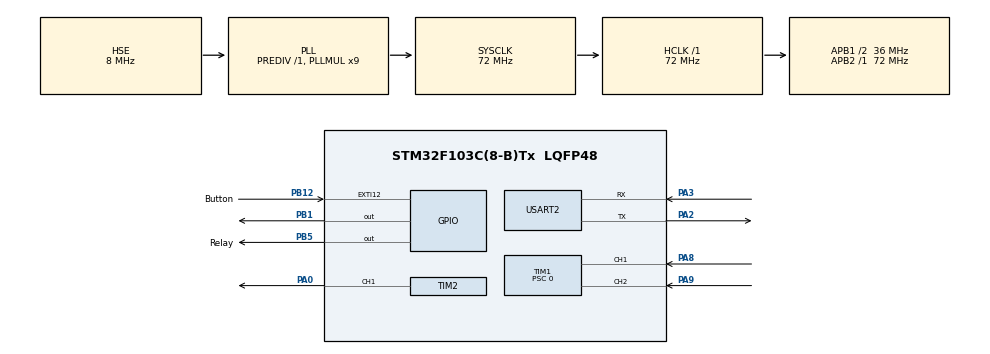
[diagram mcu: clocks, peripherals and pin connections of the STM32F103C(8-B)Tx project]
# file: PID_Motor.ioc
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Dma.Request0=USART2_TX
Dma.USART2_TX.0.Direction=DMA_MEMORY_TO_PERIPH
Dma.USART2_TX.0.Instance=DMA1_Channel7
Dma.USART2_TX.0.MemDataAlignment=DMA_MDATAALIGN_BYTE
Dma.USART2_TX.0.MemInc=DMA_MINC_ENABLE
Dma.USART2_TX.0.Mode=DMA_NORMAL
Dma.USART2_TX.0.PeriphDataAlignment=DMA_PDATAALIGN_BYTE
Dma.USART2_TX.0.PeriphInc=DMA_PINC_DISABLE
Dma.USART2_TX.0.Priority=DMA_PRIORITY_LOW
Mcu.Family=STM32F1
Mcu.Name=STM32F103C(8-B)Tx
Mcu.Package=LQFP48
NVIC.DMA1_Channel7_IRQn=true\:0\:0\:false\:false\:true\:false\:true\:true
NVIC.EXTI15_10_IRQn=true\:1\:0\:true\:false\:true\:true\:true\:true
NVIC.PriorityGroup=NVIC_PRIORITYGROUP_4
NVIC.TIM3_IRQn=true\:0\:0\:false\:false\:true\:true\:true\:true
NVIC.USART2_IRQn=true\:0\:0\:false\:false\:true\:false\:true\:true
PA0-WKUP.Signal=S_TIM2_CH1_ETR
PA13.Mode=Serial_Wire
PA13.Signal=SYS_JTMS-SWDIO
PA14.Mode=Serial_Wire
PA14.Signal=SYS_JTCK-SWCLK
PA2.Mode=Asynchronous
PA2.Signal=USART2_TX
PA3.Mode=Asynchronous
PA3.Signal=USART2_RX
PA8.Signal=S_TIM1_CH1
PA9.Signal=S_TIM1_CH2
PB1.Signal=GPIO_Output
PB12.GPIO_Label=Button
PB12.GPIO_ModeDefaultEXTI=GPIO_MODE_IT_FALLING
PB12.Signal=GPXTI12
PB5.GPIO_Label=Relay
PB5.Signal=GPIO_Output
PD0-OSC_IN.Mode=HSE-External-Oscillator
PD0-OSC_IN.Signal=RCC_OSC_IN
PD1-OSC_OUT.Mode=HSE-External-Oscillator
PD1-OSC_OUT.Signal=RCC_OSC_OUT
ProjectManager.HeapSize=0x200
ProjectManager.StackSize=0x400
ProjectManager.TargetToolchain=CMake
RCC.AHBFreq_Value=72000000
RCC.APB1CLKDivider=RCC_HCLK_DIV2
RCC.APB1Freq_Value=36000000
RCC.APB1TimFreq_Value=72000000
RCC.APB2Freq_Value=72000000
RCC.APB2TimFreq_Value=72000000
RCC.HCLKFreq_Value=72000000
RCC.PLLMUL=RCC_PLL_MUL9
RCC.PLLSourceVirtual=RCC_PLLSOURCE_HSE
RCC.SYSCLKFreq_VALUE=72000000
RCC.SYSCLKSource=RCC_SYSCLKSOURCE_PLLCLK
RCC.USBFreq_Value=72000000
SH.S_TIM1_CH1.0=TIM1_CH1,Encoder_Interface
SH.S_TIM1_CH2.0=TIM1_CH2,Encoder_Interface
SH.S_TIM2_CH1_ETR.0=TIM2_CH1,PWM Generation1 CH1
TIM1.IC1Filter=10
TIM1.IC1Polarity=TIM_ICPOLARITY_FALLING
TIM1.IC2Filter=10
TIM1.IC2Polarity=TIM_ICPOLARITY_FALLING
TIM1.Prescaler=0
TIM2.Channel-PWM\ Generation1\ CH1=TIM_CHANNEL_1
TIM2.Period=99
TIM2.Prescaler=7199
TIM2.Pulse-PWM\ Generation1\ CH1=500
TIM3.Period=499
TIM3.Prescaler=7199
USART2.VirtualMode=VM_ASYNC
VP_TIM3_VS_ClockSourceINT.Mode=Internal
board=custom

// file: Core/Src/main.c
/* USER CODE BEGIN Header */
/**
 ******************************************************************************
 * @file           : main.c
 * @brief          : Main program body
 ******************************************************************************
 * @attention
 *
 * Copyright (c) 2025 STMicroelectronics.
 * All rights reserved.
 *
 * This software is licensed under terms that can be found in the LICENSE file
 * in the root directory of this software component.
 * If no LICENSE file comes with this software, it is provided AS-IS.
 *
 ******************************************************************************
 */
/* USER CODE END Header */
#include "main.h"

/* USER CODE BEGIN Includes */
#include <stdint.h>
#include <stdio.h>
#include <string.h>
/* USER CODE END Includes */

/* USER CODE BEGIN PD */
#define DELTA_TIME 100//ms 10000Hz->20Hz
#define ENCODER_MAX 65536
#define Pk 6.5
#define Ik 4
#define Dk 2
/* USER CODE END PD */

TIM_HandleTypeDef htim1;
TIM_HandleTypeDef htim2;
TIM_HandleTypeDef htim3;

UART_HandleTypeDef huart2;
DMA_HandleTypeDef hdma_usart2_tx;

/* USER CODE BEGIN PV */
_motor motor1 = {MOTOR_1RPS, 0, 0, 0, 0, 0, 0,0,0};
/* USER CODE END PV */

void SystemClock_Config(void);
static void MX_GPIO_Init(void);
static void MX_DMA_Init(void);
static void MX_TIM1_Init(void);
static void MX_TIM2_Init(void);
static void MX_TIM3_Init(void);
static void MX_USART2_UART_Init(void);
/* USER CODE BEGIN PFP */
double getSpeedValue(_motor*);
int PID(_motor*);
/* USER CODE END PFP */

int main(void)
{

  /* MCU Configuration--------------------------------------------------------*/

  /* Reset of all peripherals, Initializes the Flash interface and the Systick. */
  HAL_Init();

  /* Configure the system clock */
  SystemClock_Config();

  /* Initialize all configured peripherals */
  MX_GPIO_Init();
  MX_DMA_Init();
  MX_TIM1_Init();
  MX_TIM2_Init();
  MX_TIM3_Init();
  MX_USART2_UART_Init();
  /* USER CODE BEGIN 2 */

  __HAL_TIM_SET_COMPARE(&htim2, TIM_CHANNEL_1, 10);
  __HAL_TIM_SET_AUTORELOAD(&htim3, DELTA_TIME*10-1);
  HAL_TIM_PWM_Start(&htim2, TIM_CHANNEL_1);
  HAL_TIM_Base_Start_IT(&htim3);
  HAL_TIM_Encoder_Start(&htim1, TIM_CHANNEL_ALL);
  /* USER CODE END 2 */

  /* Infinite loop */
  while (1) {

  }
}

void SystemClock_Config(void)
{
  RCC_OscInitTypeDef RCC_OscInitStruct = {0};
  RCC_ClkInitTypeDef RCC_ClkInitStruct = {0};

  /** Initializes the RCC Oscillators according to the specified parameters
  * in the RCC_OscInitTypeDef structure.
  */
  RCC_OscInitStruct.OscillatorType = RCC_OSCILLATORTYPE_HSE;
  RCC_OscInitStruct.HSEState = RCC_HSE_ON;
  RCC_OscInitStruct.HSEPredivValue = RCC_HSE_PREDIV_DIV1;
  RCC_OscInitStruct.HSIState = RCC_HSI_ON;
  RCC_OscInitStruct.PLL.PLLState = RCC_PLL_ON;
  RCC_OscInitStruct.PLL.PLLSource = RCC_PLLSOURCE_HSE;
  RCC_OscInitStruct.PLL.PLLMUL = RCC_PLL_MUL9;
  if (HAL_RCC_OscConfig(&RCC_OscInitStruct) != HAL_OK)
  {
    Error_Handler();
  }

  /** Initializes the CPU, AHB and APB buses clocks
  */
  RCC_ClkInitStruct.ClockType = RCC_CLOCKTYPE_HCLK|RCC_CLOCKTYPE_SYSCLK
                              |RCC_CLOCKTYPE_PCLK1|RCC_CLOCKTYPE_PCLK2;
  RCC_ClkInitStruct.SYSCLKSource = RCC_SYSCLKSOURCE_PLLCLK;
  RCC_ClkInitStruct.AHBCLKDivider = RCC_SYSCLK_DIV1;
  RCC_ClkInitStruct.APB1CLKDivider = RCC_HCLK_DIV2;
  RCC_ClkInitStruct.APB2CLKDivider = RCC_HCLK_DIV1;

  if (HAL_RCC_ClockConfig(&RCC_ClkInitStruct, FLASH_LATENCY_2) != HAL_OK)
  {
    Error_Handler();
  }
}

static void MX_TIM1_Init(void)
{

  TIM_Encoder_InitTypeDef sConfig = {0};
  TIM_MasterConfigTypeDef sMasterConfig = {0};

  htim1.Instance = TIM1;
  htim1.Init.Prescaler = 0;
  htim1.Init.CounterMode = TIM_COUNTERMODE_UP;
  htim1.Init.Period = 65535;
  htim1.Init.ClockDivision = TIM_CLOCKDIVISION_DIV1;
  htim1.Init.RepetitionCounter = 0;
  htim1.Init.AutoReloadPreload = TIM_AUTORELOAD_PRELOAD_DISABLE;
  sConfig.EncoderMode = TIM_ENCODERMODE_TI1;
  sConfig.IC1Polarity = TIM_ICPOLARITY_FALLING;
  sConfig.IC1Selection = TIM_ICSELECTION_DIRECTTI;
  sConfig.IC1Prescaler = TIM_ICPSC_DIV1;
  sConfig.IC1Filter = 10;
  sConfig.IC2Polarity = TIM_ICPOLARITY_FALLING;
  sConfig.IC2Selection = TIM_ICSELECTION_DIRECTTI;
  sConfig.IC2Prescaler = TIM_ICPSC_DIV1;
  sConfig.IC2Filter = 10;
  if (HAL_TIM_Encoder_Init(&htim1, &sConfig) != HAL_OK)
  {
    Error_Handler();
  }
  sMasterConfig.MasterOutputTrigger = TIM_TRGO_RESET;
  sMasterConfig.MasterSlaveMode = TIM_MASTERSLAVEMODE_DISABLE;
  if (HAL_TIMEx_MasterConfigSynchronization(&htim1, &sMasterConfig) != HAL_OK)
  {
    Error_Handler();
  }

}

static void MX_TIM2_Init(void)
{

  TIM_MasterConfigTypeDef sMasterConfig = {0};
  TIM_OC_InitTypeDef sConfigOC = {0};

  htim2.Instance = TIM2;
  htim2.Init.Prescaler = 7199;
  htim2.Init.CounterMode = TIM_COUNTERMODE_UP;
  htim2.Init.Period = 99;
  htim2.Init.ClockDivision = TIM_CLOCKDIVISION_DIV1;
  htim2.Init.AutoReloadPreload = TIM_AUTORELOAD_PRELOAD_DISABLE;
  if (HAL_TIM_PWM_Init(&htim2) != HAL_OK)
  {
    Error_Handler();
  }
  sMasterConfig.MasterOutputTrigger = TIM_TRGO_RESET;
  sMasterConfig.MasterSlaveMode = TIM_MASTERSLAVEMODE_DISABLE;
  if (HAL_TIMEx_MasterConfigSynchronization(&htim2, &sMasterConfig) != HAL_OK)
  {
    Error_Handler();
  }
  sConfigOC.OCMode = TIM_OCMODE_PWM1;
  sConfigOC.Pulse = 500;
  sConfigOC.OCPolarity = TIM_OCPOLARITY_HIGH;
  sConfigOC.OCFastMode = TIM_OCFAST_DISABLE;
  if (HAL_TIM_PWM_ConfigChannel(&htim2, &sConfigOC, TIM_CHANNEL_1) != HAL_OK)
  {
    Error_Handler();
  }
  HAL_TIM_MspPostInit(&htim2);

}

static void MX_TIM3_Init(void)
{

  TIM_ClockConfigTypeDef sClockSourceConfig = {0};
  TIM_MasterConfigTypeDef sMasterConfig = {0};

  htim3.Instance = TIM3;
  htim3.Init.Prescaler = 7199;
  htim3.Init.CounterMode = TIM_COUNTERMODE_UP;
  htim3.Init.Period = 499;
  htim3.Init.ClockDivision = TIM_CLOCKDIVISION_DIV1;
  htim3.Init.AutoReloadPreload = TIM_AUTORELOAD_PRELOAD_DISABLE;
  if (HAL_TIM_Base_Init(&htim3) != HAL_OK)
  {
    Error_Handler();
  }
  sClockSourceConfig.ClockSource = TIM_CLOCKSOURCE_INTERNAL;
  if (HAL_TIM_ConfigClockSource(&htim3, &sClockSourceConfig) != HAL_OK)
  {
    Error_Handler();
  }
  sMasterConfig.MasterOutputTrigger = TIM_TRGO_RESET;
  sMasterConfig.MasterSlaveMode = TIM_MASTERSLAVEMODE_DISABLE;
  if (HAL_TIMEx_MasterConfigSynchronization(&htim3, &sMasterConfig) != HAL_OK)
  {
    Error_Handler();
  }

}

static void MX_USART2_UART_Init(void)
{

  huart2.Instance = USART2;
  huart2.Init.BaudRate = 115200;
  huart2.Init.WordLength = UART_WORDLENGTH_8B;
  huart2.Init.StopBits = UART_STOPBITS_1;
  huart2.Init.Parity = UART_PARITY_NONE;
  huart2.Init.Mode = UART_MODE_TX_RX;
  huart2.Init.HwFlowCtl = UART_HWCONTROL_NONE;
  huart2.Init.OverSampling = UART_OVERSAMPLING_16;
  if (HAL_UART_Init(&huart2) != HAL_OK)
  {
    Error_Handler();
  }

}

static void MX_DMA_Init(void)
{

  /* DMA controller clock enable */
  __HAL_RCC_DMA1_CLK_ENABLE();

  /* DMA interrupt init */
  /* DMA1_Channel7_IRQn interrupt configuration */
  HAL_NVIC_SetPriority(DMA1_Channel7_IRQn, 0, 0);
  HAL_NVIC_EnableIRQ(DMA1_Channel7_IRQn);

}

static void MX_GPIO_Init(void)
{
  GPIO_InitTypeDef GPIO_InitStruct = {0};

  /* GPIO Ports Clock Enable */
  __HAL_RCC_GPIOD_CLK_ENABLE();
  __HAL_RCC_GPIOA_CLK_ENABLE();
  __HAL_RCC_GPIOB_CLK_ENABLE();

  /*Configure GPIO pin Output Level */
  HAL_GPIO_WritePin(GPIOB, GPIO_PIN_1|Relay_Pin, GPIO_PIN_RESET);

  /*Configure GPIO pins : PB1 Relay_Pin */
  GPIO_InitStruct.Pin = GPIO_PIN_1|Relay_Pin;
  GPIO_InitStruct.Mode = GPIO_MODE_OUTPUT_PP;
  GPIO_InitStruct.Pull = GPIO_NOPULL;
  GPIO_InitStruct.Speed = GPIO_SPEED_FREQ_LOW;
  HAL_GPIO_Init(GPIOB, &GPIO_InitStruct);

  /*Configure GPIO pin : Button_Pin */
  GPIO_InitStruct.Pin = Button_Pin;
  GPIO_InitStruct.Mode = GPIO_MODE_IT_FALLING;
  GPIO_InitStruct.Pull = GPIO_NOPULL;
  HAL_GPIO_Init(Button_GPIO_Port, &GPIO_InitStruct);

  /* EXTI interrupt init*/
  HAL_NVIC_SetPriority(EXTI15_10_IRQn, 1, 0);
  HAL_NVIC_EnableIRQ(EXTI15_10_IRQn);

}

/* USER CODE BEGIN 4 */
void HAL_TIM_PeriodElapsedCallback(TIM_HandleTypeDef *htim){
  if(htim==&htim3){
    motor1.current_encoder=__HAL_TIM_GET_COUNTER(&htim1);
    getSpeedValue(&motor1);

    int PWM=PID(&motor1);
    __HAL_TIM_SET_COMPARE(&htim2,TIM_CHANNEL_1,PWM);

    char message[50];
    sprintf(message,"%d,%f,%d\n",motor1.target_rps,motor1.current_rps,PWM);
    HAL_UART_Transmit_DMA(&huart2, (uint8_t*)message, strlen(message));
    motor1.past_encoder=motor1.current_encoder;
  }
}
double getSpeedValue(_motor* motor){
  int past_encoder=motor->past_encoder;
  int current_encoder=motor->current_encoder;
  int length=current_encoder-past_encoder;
  if(length>=0){
    if(length>=ENCODER_MAX/2){
      length=-(ENCODER_MAX-current_encoder+past_encoder);
    }
  }else{
    if(-length>=ENCODER_MAX/2){
      length=ENCODER_MAX-past_encoder+current_encoder;
    }
  }
  motor->current_rps=(double)length/780.0/DELTA_TIME*1000;
  return motor->current_rps;
}

int PID(_motor* motor){
  double error=motor->target_rps-motor->current_rps;
  double p=Pk*error;
  motor->all_error+=error;
  double i=Pk*motor->all_error;
  double d=Dk*(error-motor->past_error);
  int PWM=(int)(p+i+d);
  motor->past_error=error;
  if(PWM>100){
    PWM=100;
  }else if(PWM<=0){
    PWM=0;
  }
  return PWM;
}
/* USER CODE END 4 */

void Error_Handler(void)
{
  __disable_irq();
  while (1) {
  }
}
#ifdef USE_FULL_ASSERT
/**
  * @brief  Reports the name of the source file and the source line number
  *         where the assert_param error has occurred.
  * @param  file: pointer to the source file name
  * @param  line: assert_param error line source number
  * @retval None
  */
void assert_failed(uint8_t *file, uint32_t line)
{
  /* USER CODE BEGIN 6 */
  /* User can add his own implementation to report the file name and line
     number, ex: printf("Wrong parameters value: file %s on line %d\r\n", file,
     line) */
  /* USER CODE END 6 */
}
#endif /* USE_FULL_ASSERT */
